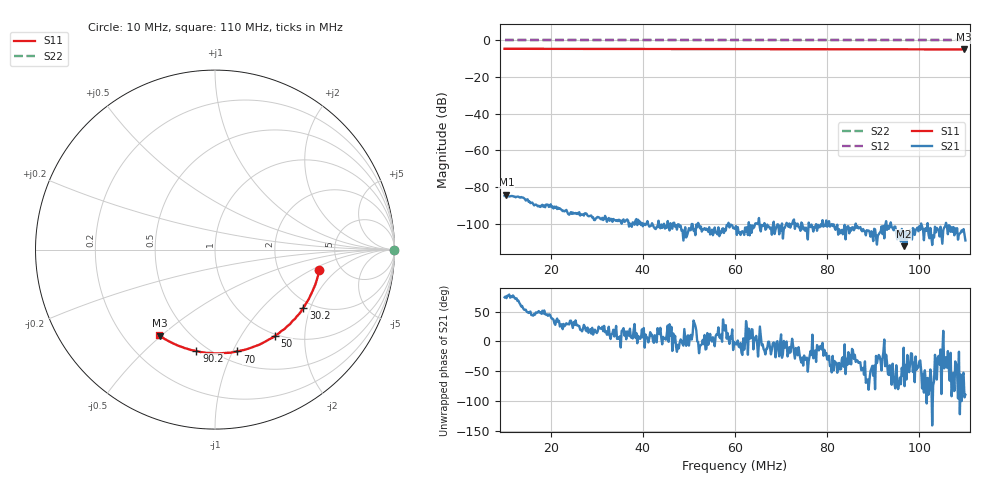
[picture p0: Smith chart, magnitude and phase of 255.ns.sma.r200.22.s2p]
! Anritsu VNA Master:  Model: MS2036C/10/77
! SN:  1601066
! /card0/usr/255.ns.sma.r200.22.s2p
! Existing Calibration Information:
! TYPE:  Current Settings,  Active Cal Settings
! TIME:  12/19/2017 07:18:24 PM,  12/19/2017 06:59:48 PM
! INTERNAL TEMP:  40.0 C,  39.3 C
! # POINTS:  501,  501
! START FREQ:  10.000 MHz,  10.000 MHz
! STOP FREQ:  110.000 MHz,  110.000 MHz
! SOURCE POWER:  High,  High
! IFBW:  100 Hz,  100 Hz
! AVG FACTOR:  1 ,  1
! REF PLANE 1:  0 mm,  0 mm
! REF PLANE 2:  0 mm,  0 mm
! CAL TYPE:  Full S11,  Full S11
! CAL METHOD:  SOLT,  SOLT
! CAL LINE TYPE:  Coax,  Coax
! DUT PORT 1:  N-Conn(F),  N-Conn(F)
! DUT PORT 2:  K-Conn(F),  K-Conn(F)
! CAL STATUS:  OK: Accuracy High,  --
# GHZ S DB R 50.0
! FREQ.GHZ  S11DB  S11A  S21DB  S21A  S12DB  S12A  S22DB  S22A
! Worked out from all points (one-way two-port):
!   501 points, 10 MHz to 110 MHz, reference 50 ohm
!   highest |S21| = -84.17 dB at 10.4 MHz (marker M1); lowest = -112.2 dB at 96.6 MHz (marker M2)
!   lowest |S11| = -4.9 dB at 109.6 MHz (marker M3), VSWR 3.64, Z = 17.5 - j24.8 ohm
!   |S11| at or under -10 dB: nowhere
!   |S22| runs from 0.0 to 0.0 dB; largest |S21 - S12| = 1
!   S11 on the Smith chart (normalised r, x): 10 MHz: 3.45, -1.19; 30.2 MHz: 1.81, -1.78; 50 MHz: 0.97, -1.42; 70 MHz: 0.61, -1.04; 90.2 MHz: 0.44, -0.73; 110 MHz: 0.35, -0.49
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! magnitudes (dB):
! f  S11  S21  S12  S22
! 10 MHz  -4.6  -84.8  0.0  0.0
! 10.4 MHz  -4.5  -84.2  0.0  0.0
! 26.8 MHz  -4.6  -95.1  0.0  0.0
! 30.2 MHz  -4.6  -96.2  0.0  0.0
! 32.8 MHz  -4.6  -98.3  0.0  0.0
! 35.4 MHz  -4.6  -100.0  0.0  0.0
! 37.2 MHz  -4.6  -99.9  0.0  0.0
! 38.6 MHz  -4.6  -97.4  0.0  0.0
! 40.4 MHz  -4.6  -100.4  0.0  0.0
! 43.4 MHz  -4.6  -98.3  0.0  0.0
! 50 MHz  -4.7  -102.3  0.0  0.0
! 51.4 MHz  -4.6  -106.2  0.0  0.0
! 60 MHz  -4.7  -102.8  0.0  0.0
! 70 MHz  -4.7  -103.9  0.0  0.0
! 76.8 MHz  -4.7  -101.9  0.0  0.0
! 85.4 MHz  -4.8  -101.9  0.0  0.0
! 90.2 MHz  -4.8  -102.7  0.0  0.0
! 93.4 MHz  -4.8  -102.7  0.0  0.0
! 96.6 MHz  -4.8  -112.2  0.0  0.0
! 106.6 MHz  -4.9  -101.1  0.0  0.0
! 109.6 MHz  -4.9  -102.9  0.0  0.0
! 110 MHz  -4.9  -109.0  0.0  0.0
